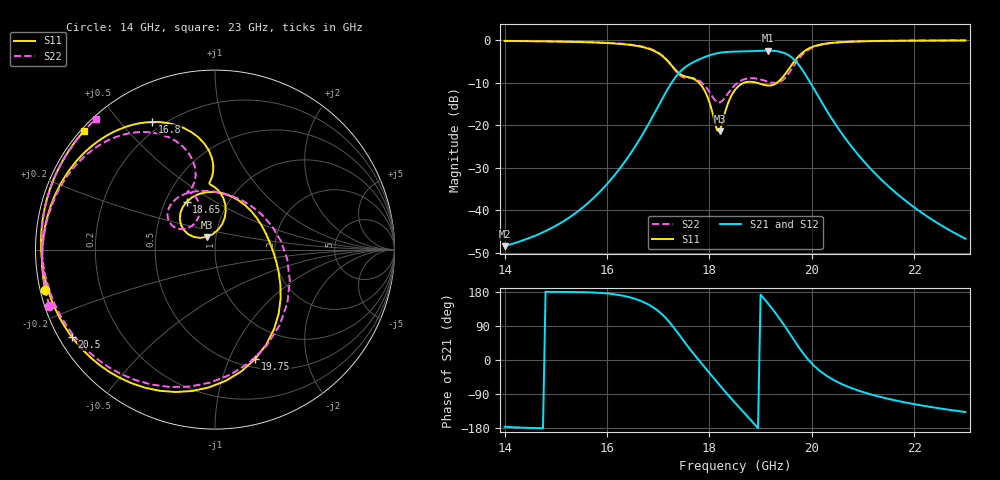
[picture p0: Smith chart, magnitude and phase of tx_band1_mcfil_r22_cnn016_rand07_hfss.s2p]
! Touchstone file exported from HFSS 3D Layout Design 2026.1.0
!  File:  D:/Work/SIM/ADS_AUTO_SIM/projects/RFSOC_RF/TX_Fillter.aedt
!  Generated:  01:32:44 AM Aug 31, 2026
!  Design:  TX_BAND1_MCFIL_R22_CNN016
!  Project:  TX_Fillter
# GHz S MA R 50.000000
! Terminal data exported
! Port[1] = Port1
! Port[2] = Port2
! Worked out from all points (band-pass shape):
!   181 points, 14 GHz to 23 GHz, reference 50 ohm
!   highest |S21| = -2.52 dB at 19.15 GHz (marker M1); lowest = -48.4 dB at 14 GHz (marker M2)
!   |S21| within 3 dB of the highest: 17.64 GHz to 19.72 GHz (2.08 GHz wide, 11.1 % of centre)
!   lowest |S11| = -21.4 dB at 18.2 GHz (marker M3), VSWR 1.19, Z = 45.1 + j6.41 ohm
!   |S11| at or under -10 dB: 17.79 GHz to 18.69 GHz (896 MHz wide, 4.91 % of centre); 18.91 GHz to 19.33 GHz (418 MHz wide, 2.19 % of centre)
!   |S22| runs from -14.7 to -0.1 dB; largest |S21 - S12| = 1.3e-14
!   S11 on the Smith chart (normalised r, x): 14 GHz: 0.01, -0.12; 16.8 GHz: 0.16, +0.61; 18.65 GHz: 0.64, +0.38; 19.75 GHz: 0.59, -1.25; 20.5 GHz: 0.04, -0.28; 23 GHz: 0.01, +0.38
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14  0.972 -166.7  0.003815 -176.3  0.003815 -176.3  0.9743 -161.2
15.5  0.9432 162.4  0.01053 179.1  0.01053 179.1  0.9487 169.4
16.25  0.8979 140.4  0.03109 171.1  0.03109 171.1  0.9071 148.8
16.8  0.7922 116.1  0.1004 147.1  0.1004 147.1  0.8042 126.2
17  0.7003 104.5  0.1665 129.3  0.1665 129.3  0.7105 115.3
17.25  0.512 92.0  0.3071 94.9  0.3071 94.9  0.5097 103.9
17.5  0.3766 94.6  0.4641 50.1  0.4641 50.1  0.3624 112.3
17.85  0.2887 80.6  0.6092 -9.8  0.6092 -9.8  0.3162 110.5
18  0.1863 73.0  0.6591 -34.1  0.6591 -34.1  0.2451 110.1
18.2  0.08474 123.6  0.7065 -66.4  0.7065 -66.4  0.1843 133.5
18.5  0.2596 139.0  0.7287 -112.9  0.7287 -112.9  0.2956 149.0
18.65  0.3098 120.7  0.7316 -135.0  0.7316 -135.0  0.3403 140.3
18.9  0.3171 82.9  0.7411 -172.0  0.7411 -172.0  0.3533 119.5
19.15  0.2917 36.6  0.7485 148.4  0.7485 148.4  0.3232 90.3
19.45  0.3766 -19.6  0.7057 93.8  0.7057 93.8  0.3436 22.3
19.6  0.5021 -45.0  0.6283 63.2  0.6283 63.2  0.4509 -22.5
19.75  0.6496 -69.9  0.5053 32.8  0.5053 32.8  0.6063 -61.5
20  0.8233 -105.5  0.2939 -9.2  0.2939 -9.2  0.8055 -108.1
20.25  0.8998 -130.6  0.1628 -38.0  0.1628 -38.0  0.8956 -137.0
20.5  0.9341 -148.4  0.09477 -58.0  0.09477 -58.0  0.9349 -156.0
21.5  0.9745 170.9  0.01914 -102.7  0.01914 -102.7  0.9766 163.7
23  0.9845 138.0  0.004668 -137.3  0.004668 -137.3  0.985 132.2
